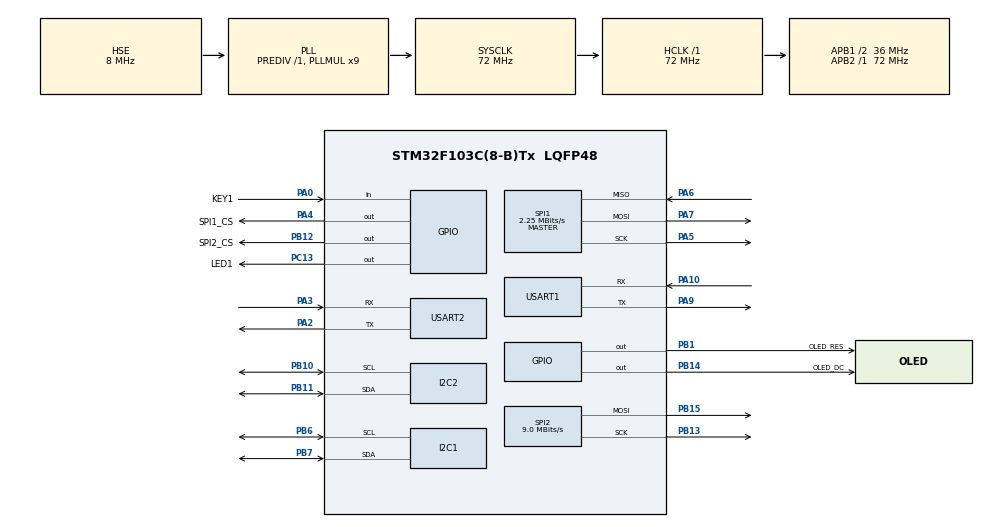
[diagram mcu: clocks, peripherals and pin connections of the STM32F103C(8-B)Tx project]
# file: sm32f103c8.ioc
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I2C2.OwnAddress=20
Mcu.Family=STM32F1
Mcu.Name=STM32F103C(8-B)Tx
Mcu.Package=LQFP48
NVIC.PriorityGroup=NVIC_PRIORITYGROUP_4
NVIC.USART1_IRQn=true\:0\:0\:false\:false\:true\:true\:true
NVIC.USART2_IRQn=true\:0\:0\:false\:false\:true\:true\:true
PA0-WKUP.GPIO_Label=KEY1
PA0-WKUP.GPIO_PuPd=GPIO_PULLUP
PA0-WKUP.Signal=GPIO_Input
PA10.Mode=Asynchronous
PA10.Signal=USART1_RX
PA13.Mode=Serial_Wire
PA13.Signal=SYS_JTMS-SWDIO
PA14.Mode=Serial_Wire
PA14.Signal=SYS_JTCK-SWCLK
PA2.Mode=Asynchronous
PA2.Signal=USART2_TX
PA3.Mode=Asynchronous
PA3.Signal=USART2_RX
PA4.GPIO_Label=SPI1_CS
PA4.Signal=GPIO_Output
PA5.Mode=Full_Duplex_Master
PA5.Signal=SPI1_SCK
PA6.Mode=Full_Duplex_Master
PA6.Signal=SPI1_MISO
PA7.Mode=Full_Duplex_Master
PA7.Signal=SPI1_MOSI
PA9.Mode=Asynchronous
PA9.Signal=USART1_TX
PB1.GPIO_Label=OLED_RES
PB1.Signal=GPIO_Output
PB10.Mode=I2C
PB10.Signal=I2C2_SCL
PB11.Mode=I2C
PB11.Signal=I2C2_SDA
PB12.GPIO_Label=SPI2_CS
PB12.Signal=GPIO_Output
PB13.Mode=TX_Only_Simplex_Unidirect_Master
PB13.Signal=SPI2_SCK
PB14.GPIO_Label=OLED_DC
PB14.Signal=GPIO_Output
PB15.Mode=TX_Only_Simplex_Unidirect_Master
PB15.Signal=SPI2_MOSI
PB6.Mode=I2C
PB6.Signal=I2C1_SCL
PB7.Mode=I2C
PB7.Signal=I2C1_SDA
PC13-TAMPER-RTC.GPIO_Label=LED1
PC13-TAMPER-RTC.Signal=GPIO_Output
PD0-OSC_IN.Mode=HSE-External-Oscillator
PD0-OSC_IN.Signal=RCC_OSC_IN
PD1-OSC_OUT.Mode=HSE-External-Oscillator
PD1-OSC_OUT.Signal=RCC_OSC_OUT
ProjectManager.HeapSize=0x200
ProjectManager.StackSize=0x400
ProjectManager.TargetToolchain=Makefile
RCC.AHBFreq_Value=72000000
RCC.APB1CLKDivider=RCC_HCLK_DIV2
RCC.APB1Freq_Value=36000000
RCC.APB1TimFreq_Value=72000000
RCC.APB2Freq_Value=72000000
RCC.APB2TimFreq_Value=72000000
RCC.HCLKFreq_Value=72000000
RCC.PLLMUL=RCC_PLL_MUL9
RCC.PLLSourceVirtual=RCC_PLLSOURCE_HSE
RCC.SYSCLKFreq_VALUE=72000000
RCC.SYSCLKSource=RCC_SYSCLKSOURCE_PLLCLK
RCC.USBFreq_Value=72000000
SPI1.BaudRatePrescaler=SPI_BAUDRATEPRESCALER_32
SPI1.CLKPolarity=SPI_POLARITY_LOW
SPI1.CalculateBaudRate=2.25 MBits/s
SPI1.Direction=SPI_DIRECTION_2LINES
SPI1.Mode=SPI_MODE_MASTER
SPI1.VirtualType=VM_MASTER
SPI2.BaudRatePrescaler=SPI_BAUDRATEPRESCALER_4
SPI2.CLKPhase=SPI_PHASE_1EDGE
SPI2.CLKPolarity=SPI_POLARITY_LOW
SPI2.CalculateBaudRate=9.0 MBits/s
SPI2.Direction=SPI_DIRECTION_2LINES
SPI2.Mode=SPI_MODE_MASTER
SPI2.VirtualType=VM_MASTER
USART1.VirtualMode=VM_ASYNC
USART2.VirtualMode=VM_ASYNC
board=custom

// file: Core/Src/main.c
/* USER CODE BEGIN Header */
/**
  ******************************************************************************
  * @file           : main.c
  * @brief          : Main program body
  ******************************************************************************
  * @attention
  *
  * Copyright (c) 2022 STMicroelectronics.
  * All rights reserved.
  *
  * This software is licensed under terms that can be found in the LICENSE file
  * in the root directory of this software component.
  * If no LICENSE file comes with this software, it is provided AS-IS.
  *
  ******************************************************************************
  */
/* USER CODE END Header */
#include "main.h"
#include "i2c.h"
#include "spi.h"
#include "usart.h"
#include "gpio.h"

/* USER CODE BEGIN Includes */
#include <stdio.h>
#include "key.h"
#include "uart.h"
#include "sht31.h"
/* USER CODE END Includes */

/* USER CODE BEGIN PM */
/** @name SHT31 (I2C) */
#define SHT31_I2C_ENABLE 1
// #define SENDBACK_I2C_ENABLE 1

/* USER CODE END PM */

/* USER CODE BEGIN PV */
uint8_t key_toggle = 0;
char startMessage[] = "** UART communication based on IT **\r\n";
/* USER CODE END PV */

void SystemClock_Config(void);

int main(void)
{

  /* MCU Configuration--------------------------------------------------------*/

  /* Reset of all peripherals, Initializes the Flash interface and the Systick. */
  HAL_Init();

  /* Configure the system clock */
  SystemClock_Config();

  /* Initialize all configured peripherals */
  MX_GPIO_Init();
  MX_USART1_UART_Init();
  MX_USART2_UART_Init();
  MX_I2C1_Init();
  MX_I2C2_Init();
  MX_SPI1_Init();
  MX_SPI2_Init();
  /* USER CODE BEGIN 2 */
#ifdef SENDBACK_I2C_ENABLE
  uint8_t sendback_i2c_on = 0;
  HAL_StatusTypeDef status;
  // 使能主机中断接收
  status = HAL_I2C_Master_Receive_IT(&hi2c1, SENDBACK_I2C_ADDR_READ, I2C_recvBuf, sizeof(I2C_recvBuf));
  if (status != HAL_OK)
  {
    HAL_I2C_StateTypeDef error_status = HAL_I2C_GetState(&hi2c1);
    printf("HAL_I2C_Master_Receive_IT err1:%02x -- err2:%02x\r\n", status, error_status);
    return -1;
  }
#endif // SENDBACK_I2C_ENABLE
#ifdef SHT31_I2C_ENABLE
  uint8_t sht31_i2c_on = 0;
  HAL_StatusTypeDef status;
  SHT31_DATA sht31_data;
  uint8_t I2C_sendBuf[2] = {0x24, 0x00};
  uint8_t I2C_recvdBuf[6];
  HAL_Delay(200);

#if 0
  sht31_get_data(&sht31_data);
  printf("SHT31 temperature: %d, humidity: %d\r\n", sht31_data.temperature, sht31_data.humidity);
  HAL_Delay(200);

  sht31_reset();
  if (sht31_init() == HAL_OK)
    printf("SHT31 init OK\n");
  else
    printf("SHT31 init FAIL\n");
  HAL_Delay(2000);
#endif // 0
#endif // SHT31_I2C_ENABLE

  Uart1_printf(startMessage);
  Uart2_printf(startMessage);
  HAL_UART_Receive_IT(&huart1, (uint8_t *)rxBuffer, 15);
  HAL_UART_Receive_IT(&huart2, (uint8_t *)rxBuffer2, 15);
  /* USER CODE END 2 */

  /* Infinite loop */
  while (1)
  {

    /* USER CODE BEGIN 3 */
    HAL_Delay(200);
    if (Key_Scan(KEY1_GPIO_Port, KEY1_Pin) == KEY_ON)
    {
      key_toggle = 1;
      // D2 反转
      HAL_GPIO_TogglePin(LED1_GPIO_Port, LED1_Pin);
#ifdef SENDBACK_I2C_ENABLE
      sendback_i2c_on = !sendback_i2c_on;
#endif // SENDBACK_I2C_ENABLE
#ifdef SHT31_I2C_ENABLE
      sht31_i2c_on = !sht31_i2c_on;
#endif // SHT31_I2C_ENABLE
    }
#ifdef SENDBACK_I2C_ENABLE
    if (sendback_i2c_on)
    {
      i2c_send_data();
    }
#endif // SENDBACK_I2C_ENABLE
#ifdef SHT31_I2C_ENABLE
    if (sht31_i2c_on)
    {
      // status = HAL_I2C_Master_Transmit(&hi2c1, SHT31_ADDR_WRITE, I2C_sendBuf, sizeof(I2C_sendBuf), 0x50);
      // if (status != HAL_OK)
      // {
      //   HAL_I2C_StateTypeDef error_status = HAL_I2C_GetState(&hi2c1);
      //   printf("HAL_I2C_Master_Transmit err1:%02x -- err2:%02x\r\n", status, error_status);
      // }
      status = HAL_I2C_Master_Receive(&hi2c1, SHT31_ADDR_READ, I2C_recvdBuf, sizeof(I2C_recvdBuf), 0x50);
      if (status != HAL_OK)
      {
        HAL_I2C_StateTypeDef error_status = HAL_I2C_GetState(&hi2c1);
        printf("HAL_I2C_Master_Receive err1:%02x -- err2:%02x\r\n", status, error_status);
      }
      sht31_parse_data(&sht31_data, I2C_recvdBuf);
#if 0
      sht31_reset();
      if (sht31_init() == HAL_OK)
        printf("SHT31 init OK\n");
      else
        printf("SHT31 init FAIL\n");
      HAL_Delay(20);
      if (sht31_get_data(&sht31_data) == HAL_OK)
      {
        printf("SHT31 temperature: %d, humidity: %d\r\n", sht31_data.temperature, sht31_data.humidity);
      }
      else
      {
        printf("SHT31 error!\r\n");
      }
#endif // 0
    }
#endif // SHT31_I2C_ENABLE
    key_toggle = 0;
  }
  /* USER CODE END 3 */
}

void SystemClock_Config(void)
{
  RCC_OscInitTypeDef RCC_OscInitStruct = {0};
  RCC_ClkInitTypeDef RCC_ClkInitStruct = {0};

  /** Initializes the RCC Oscillators according to the specified parameters
  * in the RCC_OscInitTypeDef structure.
  */
  RCC_OscInitStruct.OscillatorType = RCC_OSCILLATORTYPE_HSE;
  RCC_OscInitStruct.HSEState = RCC_HSE_ON;
  RCC_OscInitStruct.HSEPredivValue = RCC_HSE_PREDIV_DIV1;
  RCC_OscInitStruct.HSIState = RCC_HSI_ON;
  RCC_OscInitStruct.PLL.PLLState = RCC_PLL_ON;
  RCC_OscInitStruct.PLL.PLLSource = RCC_PLLSOURCE_HSE;
  RCC_OscInitStruct.PLL.PLLMUL = RCC_PLL_MUL9;
  if (HAL_RCC_OscConfig(&RCC_OscInitStruct) != HAL_OK)
  {
    Error_Handler();
  }
  /** Initializes the CPU, AHB and APB buses clocks
  */
  RCC_ClkInitStruct.ClockType = RCC_CLOCKTYPE_HCLK|RCC_CLOCKTYPE_SYSCLK
                              |RCC_CLOCKTYPE_PCLK1|RCC_CLOCKTYPE_PCLK2;
  RCC_ClkInitStruct.SYSCLKSource = RCC_SYSCLKSOURCE_PLLCLK;
  RCC_ClkInitStruct.AHBCLKDivider = RCC_SYSCLK_DIV1;
  RCC_ClkInitStruct.APB1CLKDivider = RCC_HCLK_DIV2;
  RCC_ClkInitStruct.APB2CLKDivider = RCC_HCLK_DIV1;

  if (HAL_RCC_ClockConfig(&RCC_ClkInitStruct, FLASH_LATENCY_2) != HAL_OK)
  {
    Error_Handler();
  }
}

void Error_Handler(void)
{
  __disable_irq();
  while (1)
  {
  }
}
